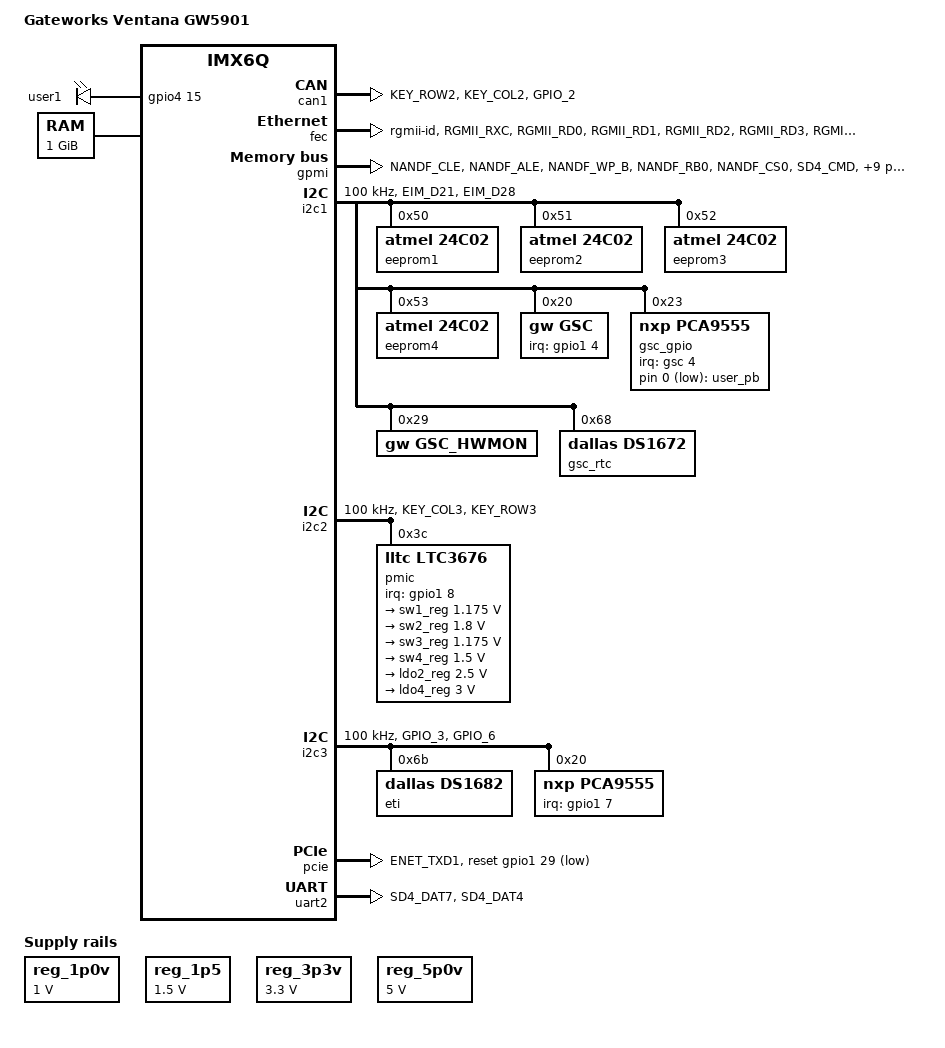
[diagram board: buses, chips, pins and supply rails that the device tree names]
/*
 * Copyright 2018 Gateworks Corporation
 *
 * The code contained herein is licensed under the GNU General Public
 * License. You may obtain a copy of the GNU General Public License
 * Version 2 or later at the following locations:
 *
 * http://www.opensource.org/licenses/gpl-license.html
 * http://www.gnu.org/copyleft/gpl.html
 */

/dts-v1/;
#include "imx6q.dtsi"
#include <dt-bindings/gpio/gpio.h>

/ {
	model = "Gateworks Ventana GW5901";
	compatible = "gw,imx6q-gw5901", "gw,ventana", "fsl,imx6q";

	/* these are used by bootloader for disabling nodes */
	aliases {
		can0 = &can1;
		ethernet0 = &fec;
		led0 = &led0;
	};

	chosen {
		bootargs = "console=ttymxc1,115200";
	};

	leds {
		compatible = "gpio-leds";
		pinctrl-names = "default";
		pinctrl-0 = <&pinctrl_gpio_leds>;

		led0: user1 {
			label = "user1";
			gpios = <&gpio4 15 GPIO_ACTIVE_HIGH>;
			default-state = "on";
			linux,default-trigger = "heartbeat";
		};
	};

	gpio_keys {
		compatible = "gpio-keys";
		#address-cells = <1>;
		#size-cells = <0>;

		user_pb {
			label = "user_pb";

			gpios = <&gsc_gpio 0 GPIO_ACTIVE_LOW>;
			linux,code = <256>;
		};
	};

	memory {
		reg = <0x10000000 0x40000000>;
	};

	reg_1p0v: regulator@0 {
		compatible = "regulator-fixed";
		reg = <0>;
		regulator-name = "1P0V";
		regulator-min-microvolt = <1000000>;
		regulator-max-microvolt = <1000000>;
		regulator-always-on;
	};

	reg_1p5: regulator@1 {
		compatible = "regulator-fixed";
		reg = <1>;
		regulator-name = "1P5V";
		regulator-min-microvolt = <1500000>;
		regulator-max-microvolt = <1500000>;
		regulator-always-on;
	};

	reg_3p3v: regulator@2 {
		compatible = "regulator-fixed";
		reg = <2>;
		regulator-name = "3P3V";
		regulator-min-microvolt = <3300000>;
		regulator-max-microvolt = <3300000>;
		regulator-always-on;
	};

	reg_5p0v: regulator@3 {
		compatible = "regulator-fixed";
		reg = <3>;
		regulator-name = "5P0V";
		regulator-min-microvolt = <5000000>;
		regulator-max-microvolt = <5000000>;
		regulator-always-on;
	};
};

&can1 {
	pinctrl-names = "default";
	pinctrl-0 = <&pinctrl_flexcan1>;
	status = "okay";
};

&fec {
	pinctrl-names = "default";
	pinctrl-0 = <&pinctrl_enet>;
	phy-mode = "rgmii-id";
	phy-reset-gpios = <&gpio1 30 GPIO_ACTIVE_LOW>;
	status = "okay";
};

&gpmi {
	pinctrl-names = "default";
	pinctrl-0 = <&pinctrl_gpmi_nand>;
	status = "okay";
};

&i2c1 {
	clock-frequency = <100000>;
	pinctrl-names = "default";
	pinctrl-0 = <&pinctrl_i2c1>;
	status = "okay";

	eeprom1: eeprom@50 {
		compatible = "atmel,24c02";
		reg = <0x50>;
		pagesize = <16>;
	};

	eeprom2: eeprom@51 {
		compatible = "atmel,24c02";
		reg = <0x51>;
		pagesize = <16>;
	};

	eeprom3: eeprom@52 {
		compatible = "atmel,24c02";
		reg = <0x52>;
		pagesize = <16>;
	};

	eeprom4: eeprom@53 {
		compatible = "atmel,24c02";
		reg = <0x53>;
		pagesize = <16>;
	};

	gsc: gsc@20 {
		pinctrl-names = "default";
		pinctrl-0 = <&pinctrl_gsc>;
		compatible = "gw,gsc";
		reg = <0x20>;
		interrupt-parent = <&gpio1>;
		interrupts = <4 GPIO_ACTIVE_LOW>;
		interrupt-controller;
		#interrupt-cells = <1>;

		/* GSC watchdog */
		watchdog {
			compatible = "gw,gsc_wdt";
			status = "okay";
		};

		/* Linux input events from GSC interrupt events */
		input {
			compatible = "gw,gsc_input";
			interrupt-parent = <&gsc>;
			interrupts = <0 1 2 5 7>;
			interrupt-names = "button", "key-erased", "eeprom-wp", "tamper", "button-held";
			status = "okay";
		};
	};

	gsc_gpio: pca9555@23 {
		compatible = "nxp,pca9555";
		reg = <0x23>;
		gpio-controller;
		#gpio-cells = <2>;
		interrupt-parent = <&gsc>;
		interrupts = <4>;
	};

	gsc_hwmon: hwmon@29 {
		compatible = "gw,gsc_hwmon";
		reg = <0x29>;
	};

	gsc_rtc: ds1672@68 {
		compatible = "dallas,ds1672";
		reg = <0x68>;
	};
};

&i2c2 {
	clock-frequency = <100000>;
	pinctrl-names = "default";
	pinctrl-0 = <&pinctrl_i2c2>;
	status = "okay";

	pmic: ltc3676@3c {
		compatible = "lltc,ltc3676";
		reg = <0x3c>;
		interrupt-parent = <&gpio1>;
		interrupts = <8 IRQ_TYPE_EDGE_FALLING>;

		regulators {
			/* VDD_SOC */
			sw1_reg: ltc3676__sw1 {
				regulator-min-microvolt = <1175000>;
				regulator-max-microvolt = <1175000>;
				regulator-boot-on;
				regulator-always-on;
			};

			/* VDD_1P8 */
			sw2_reg: ltc3676__sw2 {
				regulator-min-microvolt = <1800000>;
				regulator-max-microvolt = <1800000>;
				regulator-boot-on;
				regulator-always-on;
			};

			/* VDD_ARM */
			sw3_reg: ltc3676__sw3 {
				regulator-min-microvolt = <1175000>;
				regulator-max-microvolt = <1175000>;
				regulator-boot-on;
				regulator-always-on;
			};

			/* VDD_DDR */
			sw4_reg: ltc3676__sw4 {
				regulator-min-microvolt = <1500000>;
				regulator-max-microvolt = <1500000>;
				regulator-boot-on;
				regulator-always-on;
			};

			/* VDD_2P5 */
			ldo2_reg: ltc3676__ldo2 {
				regulator-min-microvolt = <2500000>;
				regulator-max-microvolt = <2500000>;
				regulator-boot-on;
				regulator-always-on;
			};

			/* VDD_HIGH */
			ldo4_reg: ltc3676__ldo4 {
				regulator-min-microvolt = <3000000>;
				regulator-max-microvolt = <3000000>;
			};
		};
	};
};

&i2c3 {
	clock-frequency = <100000>;
	pinctrl-names = "default";
	pinctrl-0 = <&pinctrl_i2c3>;
	status = "okay";

	eti@6b {
		compatible = "dallas,ds1682";
		reg = <0x6b>;
	};

	pca9555@20 {
		compatible = "nxp,pca9555";
		reg = <0x20>;
		gpio-controller;
		#gpio-cells = <2>;
		interrupt-parent = <&gpio1>;
		interrupts = <7 GPIO_ACTIVE_LOW>;
	};
};

&pcie {
	pinctrl-names = "default";
	pinctrl-0 = <&pinctrl_pcie>;
	reset-gpio = <&gpio1 29 GPIO_ACTIVE_LOW>;
	status = "okay";
};

&uart2 {
	pinctrl-names = "default";
	pinctrl-0 = <&pinctrl_uart2>;
	status = "okay";
};

&wdog1 {
	pinctrl-names = "default";
	pinctrl-0 = <&pinctrl_wdog>;
	fsl,ext-reset-output;
};

&iomuxc {
    imx6q-gw5901 {
	pinctrl_enet: enetgrp {
		fsl,pins = <
			MX6QDL_PAD_RGMII_RXC__RGMII_RXC		0x1b0b0
			MX6QDL_PAD_RGMII_RD0__RGMII_RD0		0x1b0b0
			MX6QDL_PAD_RGMII_RD1__RGMII_RD1		0x1b0b0
			MX6QDL_PAD_RGMII_RD2__RGMII_RD2		0x1b0b0
			MX6QDL_PAD_RGMII_RD3__RGMII_RD3		0x1b0b0
			MX6QDL_PAD_RGMII_RX_CTL__RGMII_RX_CTL	0x1b0b0
			MX6QDL_PAD_RGMII_TXC__RGMII_TXC		0x1b0b0
			MX6QDL_PAD_RGMII_TD0__RGMII_TD0		0x1b0b0
			MX6QDL_PAD_RGMII_TD1__RGMII_TD1		0x1b0b0
			MX6QDL_PAD_RGMII_TD2__RGMII_TD2		0x1b0b0
			MX6QDL_PAD_RGMII_TD3__RGMII_TD3		0x1b0b0
			MX6QDL_PAD_RGMII_TX_CTL__RGMII_TX_CTL	0x1b0b0
			MX6QDL_PAD_ENET_REF_CLK__ENET_TX_CLK	0x1b0b0
			MX6QDL_PAD_ENET_MDIO__ENET_MDIO		0x1b0b0
			MX6QDL_PAD_ENET_MDC__ENET_MDC		0x1b0b0
			MX6QDL_PAD_GPIO_16__ENET_REF_CLK	0x4001b0a8
			MX6QDL_PAD_ENET_TXD0__GPIO1_IO30	0x4001b0b0 /* PHY_RST# */
		>;
	};

	pinctrl_flexcan1: flexcan1grp {
		fsl,pins = <
			MX6QDL_PAD_KEY_ROW2__FLEXCAN1_RX	0x1b0b1
			MX6QDL_PAD_KEY_COL2__FLEXCAN1_TX	0x1b0b1
			MX6QDL_PAD_GPIO_2__GPIO1_IO02		0x4001b0b0 /* CAN_STBY */
		>;
	};

	pinctrl_gpio_leds: gpioledsgrp {
		fsl,pins = <
			MX6QDL_PAD_KEY_ROW4__GPIO4_IO15		0x1b0b0
		>;
	};

	pinctrl_gpmi_nand: gpminandgrp {
		fsl,pins = <
			MX6QDL_PAD_NANDF_CLE__NAND_CLE		0xb0b1
			MX6QDL_PAD_NANDF_ALE__NAND_ALE		0xb0b1
			MX6QDL_PAD_NANDF_WP_B__NAND_WP_B	0xb0b1
			MX6QDL_PAD_NANDF_RB0__NAND_READY_B	0xb000
			MX6QDL_PAD_NANDF_CS0__NAND_CE0_B	0xb0b1
			MX6QDL_PAD_SD4_CMD__NAND_RE_B		0xb0b1
			MX6QDL_PAD_SD4_CLK__NAND_WE_B		0xb0b1
			MX6QDL_PAD_NANDF_D0__NAND_DATA00	0xb0b1
			MX6QDL_PAD_NANDF_D1__NAND_DATA01	0xb0b1
			MX6QDL_PAD_NANDF_D2__NAND_DATA02	0xb0b1
			MX6QDL_PAD_NANDF_D3__NAND_DATA03	0xb0b1
			MX6QDL_PAD_NANDF_D4__NAND_DATA04	0xb0b1
			MX6QDL_PAD_NANDF_D5__NAND_DATA05	0xb0b1
			MX6QDL_PAD_NANDF_D6__NAND_DATA06	0xb0b1
			MX6QDL_PAD_NANDF_D7__NAND_DATA07	0xb0b1
		>;
	};

	pinctrl_gsc: gscgrp {
		fsl,pins = <
			MX6QDL_PAD_GPIO_4__GPIO1_IO04       0x80000000 /* GSC_IRQ# */
		>;
	};

	pinctrl_i2c1: i2c1grp {
		fsl,pins = <
			MX6QDL_PAD_EIM_D21__I2C1_SCL		0x4001b8b1
			MX6QDL_PAD_EIM_D28__I2C1_SDA		0x4001b8b1
		>;
	};

	pinctrl_i2c2: i2c2grp {
		fsl,pins = <
			MX6QDL_PAD_KEY_COL3__I2C2_SCL		0x4001b8b1
			MX6QDL_PAD_KEY_ROW3__I2C2_SDA		0x4001b8b1
		>;
	};

	pinctrl_i2c3: i2c3grp {
		fsl,pins = <
			MX6QDL_PAD_GPIO_3__I2C3_SCL		0x4001b8b1
			MX6QDL_PAD_GPIO_6__I2C3_SDA		0x4001b8b1
		>;
	};

	pinctrl_pcie: pciegrp {
		fsl,pins = <
			MX6QDL_PAD_ENET_TXD1__GPIO1_IO29	0x1b0b0 /* PCIE RST */
		>;
	};

	pinctrl_pmic: pmicgrp {
		fsl,pins = <
			MX6QDL_PAD_GPIO_8__GPIO1_IO08	0x1b0b0 /* PMIC_IRQ# */
		>;
	};

	pinctrl_uart2: uart2grp {
		fsl,pins = <
			MX6QDL_PAD_SD4_DAT7__UART2_TX_DATA	0x1b0b1
			MX6QDL_PAD_SD4_DAT4__UART2_RX_DATA	0x1b0b1
		>;
	};

	pinctrl_wdog: wdoggrp {
		fsl,pins = <
			MX6QDL_PAD_DISP0_DAT8__WDOG1_B		0x1b0b0
		>;
	};
    };
};
